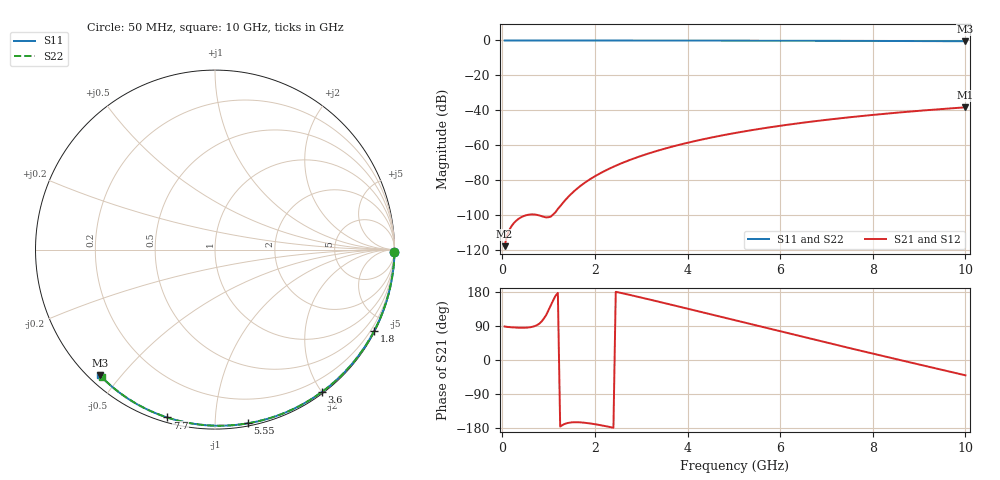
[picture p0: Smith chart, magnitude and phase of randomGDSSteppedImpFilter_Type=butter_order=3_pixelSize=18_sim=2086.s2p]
! freq	dB(S11)	phase(S11)	dB(S12)	phase(S12)
!  dB(S21)	phase(S21)	dB(S22)	phase(S22)
!S-par simulation data
#  GHz  S  DB  R 50
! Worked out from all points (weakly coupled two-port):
!   200 points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, 50 MHz to 10 GHz, reference 50 ohm
!   highest |S21| = -38.39 dB at 10 GHz (marker M1); lowest = -118.1 dB at 50 MHz (marker M2)
!   lowest |S11| = -0.4 dB at 10 GHz (marker M3), VSWR 38.72, Z = 1.54 - j22 ohm
!   |S11| at or under -10 dB: nowhere
!   |S22| runs from -0.4 to 0.0 dB; largest |S21 - S12| = 0
!   S11 on the Smith chart (normalised r, x): 50 MHz: open; 1.8 GHz: 0.04, -4.13; 3.6 GHz: 0.02, -2.00; 5.55 GHz: 0.02, -1.21; 7.7 GHz: 0.02, -0.75; 10 GHz: 0.03, -0.44
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0.05  -0.00 -0.8  -118.07 88.5  -118.07 88.5  -0.00 -0.8
0.9  -0.02 -13.7  -101.27 109.9  -101.27 109.9  -0.02 -13.6
1.75  -0.03 -26.5  -82.26 -165.2  -82.26 -165.2  -0.03 -26.3
1.8  -0.03 -27.2  -81.32 -165.9  -81.32 -165.9  -0.03 -27.0
1.85  -0.04 -27.9  -80.42 -166.6  -80.42 -166.6  -0.04 -27.8
1.9  -0.04 -28.7  -79.56 -167.5  -79.56 -167.5  -0.04 -28.5
2.05  -0.04 -30.9  -77.18 -170.4  -77.18 -170.4  -0.04 -30.7
2.25  -0.04 -33.8  -74.37 -175.0  -74.37 -175.0  -0.04 -33.6
2.45  -0.05 -36.7  -71.89 179.9  -71.89 179.9  -0.05 -36.5
2.65  -0.05 -39.6  -69.66 174.6  -69.66 174.6  -0.05 -39.4
3  -0.06 -44.7  -66.25 164.8  -66.25 164.8  -0.06 -44.4
3.4  -0.07 -50.4  -62.92 153.2  -62.92 153.2  -0.07 -50.0
3.6  -0.07 -53.2  -61.43 147.3  -61.43 147.3  -0.07 -52.8
4.3  -0.09 -62.8  -56.92 126.5  -56.92 126.5  -0.09 -62.4
5.05  -0.11 -72.8  -53.00 104.0  -53.00 104.0  -0.11 -72.4
5.55  -0.13 -79.3  -50.77 89.0  -50.77 89.0  -0.13 -78.9
6.1  -0.15 -86.4  -48.60 72.6  -48.60 72.6  -0.15 -85.8
6.7  -0.18 -93.8  -46.51 54.9  -46.51 54.9  -0.18 -93.2
7.7  -0.24 -105.9  -43.53 25.6  -43.53 25.6  -0.24 -105.3
8.35  -0.29 -113.5  -41.87 6.8  -41.87 6.8  -0.29 -112.8
9.15  -0.36 -122.8  -40.06 -16.1  -40.06 -16.1  -0.36 -122.0
10  -0.45 -132.4  -38.39 -40.4  -38.39 -40.4  -0.45 -131.6
